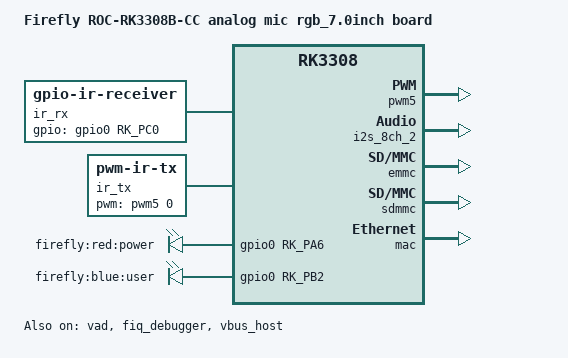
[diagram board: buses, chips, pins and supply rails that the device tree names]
// SPDX-License-Identifier: (GPL-2.0+ OR MIT)
/*
 * Copyright (c) 2018 Fuzhou Rockchip Electronics Co., Ltd
 */

/dts-v1/;

#include "rk3308b-firefly.dtsi"
#include "rk3308b-rgb_7.0inch_CZNB070762T.dtsi"

/ {
	model = "Firefly ROC-RK3308B-CC analog mic rgb_7.0inch board";
	compatible = "firefly,rk3308b-roc-cc-amic-rgb_7.0inch_emmc", "firefly,rk3308", "rockchip,rk3308";

	chosen {
                bootargs = "earlycon=uart8250,mmio32,0xff0c0000 swiotlb=1 console=ttyFIQ0 root=PARTUUID=614e0000-0000 rw rootfstype=ext4 rootwait snd_aloop.index=7";
        };

	pdm_i2s_dais: pdm-i2s-dais {
		status = "disabled";
		compatible = "rockchip,rk3308-multi-dais", "rockchip,multi-dais";
		dais = <&pdm_8ch>, <&i2s_8ch_2>;
		capture,channel-mapping = <6 2>;
		playback,channel-mapping = <0 2>;
		bitclock-inversion = <1 0>;
	};

	pdm-mic-array {
		status = "disabled";
		compatible = "simple-audio-card";
		simple-audio-card,name = "rockchip,pdm-mic-array";
		simple-audio-card,cpu {
			sound-dai = <&pdm_8ch>;
		};
		simple-audio-card,codec {
			sound-dai = <&dummy_codec>;
		};
	};

	vad-sound {
		status = "disabled";
		compatible = "rockchip,multicodecs-card";
		rockchip,card-name = "rockchip,rk3308-vad";
		rockchip,cpu = <&pdm_i2s_dais>;
		rockchip,codec = <&acodec>, <&vad>;
	};

        vad_acodec_sound: vad-acodec-sound {
                status = "okay";
                compatible = "rockchip,multicodecs-card";
                rockchip,card-name = "rockchip,rk3308b-acodec";
                rockchip,codec-hp-det;
                rockchip,mclk-fs = <256>;
                rockchip,cpu = <&i2s_8ch_2>;
                rockchip,codec = <&acodec>, <&vad>;
        };

	ir_rx {
                status = "okay";
                compatible = "gpio-ir-receiver";
                gpios = <&gpio0 RK_PC0 GPIO_ACTIVE_HIGH>;
                pinctrl-names = "default";
		pinctrl-0 = <&ir_recv_pin>;
        };

        ir_tx {
                status = "okay";
                compatible = "pwm-ir-tx";
                pwms = <&pwm5 0 25000 0>;
        };

    	leds {
        	status = "okay";
        	compatible = "gpio-leds";
        	power {
            		label = "firefly:red:power"; 
            		linux,default-trigger = "ir-power-click";
            		default-state = "on";
            		gpios = <&gpio0 RK_PA6 GPIO_ACTIVE_HIGH>;
        };

        user {
        	label = "firefly:blue:user";
        	linux,default-trigger = "ir-user-click";
        	default-state = "off";
            	gpios = <&gpio0 RK_PB2 GPIO_ACTIVE_HIGH>;
        };
    };
};

&acodec_sound {
    status = "disabled";
};

&acodec {
    rockchip,micbias1;
    rockchip,micbias2;
    rockchip,en-always-grps = <0 1 2 3>;
    rockchip,adc-grps-route = <1 0 3 2>;
    /delete-property/rockchip,loopback-grp;
};

&pwm5 {
    status = "okay";
    pinctrl-names = "active";
    pinctrl-0 = <&pwm5_pin_pull_down>;
};

&bluetooth_sound {
    status = "disabled";
};

&i2s_2ch_0 {
    status = "disabled";
    #sound-dai-cells = <0>;
    rockchip,clk-trcm = <1>;
};

&pdm_8ch {
    status = "disabled";
    #sound-dai-cells = <0>;
    rockchip,no-dmaengine;
    pinctrl-names = "default";
    pinctrl-0 = <&pdm_m2_clk
        	 &pdm_m2_clkm
		 &pdm_m2_sdi0
		 &pdm_m2_sdi1
		 &pdm_m2_sdi2
		 &pdm_m2_sdi3>;
};

&vad {
    status = "okay";
    rockchip,audio-src = <&i2s_8ch_2>;
    rockchip,det-channel = <0>;
    rockchip,mode = <1>;
    rockchip,buffer-time-ms = <200>;
    #sound-dai-cells = <0>;
};

&i2s_8ch_2 {
    status = "okay";
};

&pdm_i2s_dais {
    status = "disabled";
    #sound-dai-cells = <0>;
};

&emmc {
    status = "okay";
};

&nandc {
    status = "disabled";
};

&fiq_debugger {
    status = "okay";
    pinctrl-names = "default";
    //pinctrl-0 = <&uart2m0_xfer>;
};

&sdmmc {
    status = "okay";
};

&vccio_sd {
    gpios = <&gpio0 RK_PA7 GPIO_ACTIVE_HIGH>;
};

&mac {
    status = "okay";
};

&vbus_host {
    status = "okay";
    enable-active-low;
};

&gpio_keys {
    status = "disabled";
};

&tas5731 {
    status = "disabled";
};

&is31fl3236 {
    status = "disabled";
};
